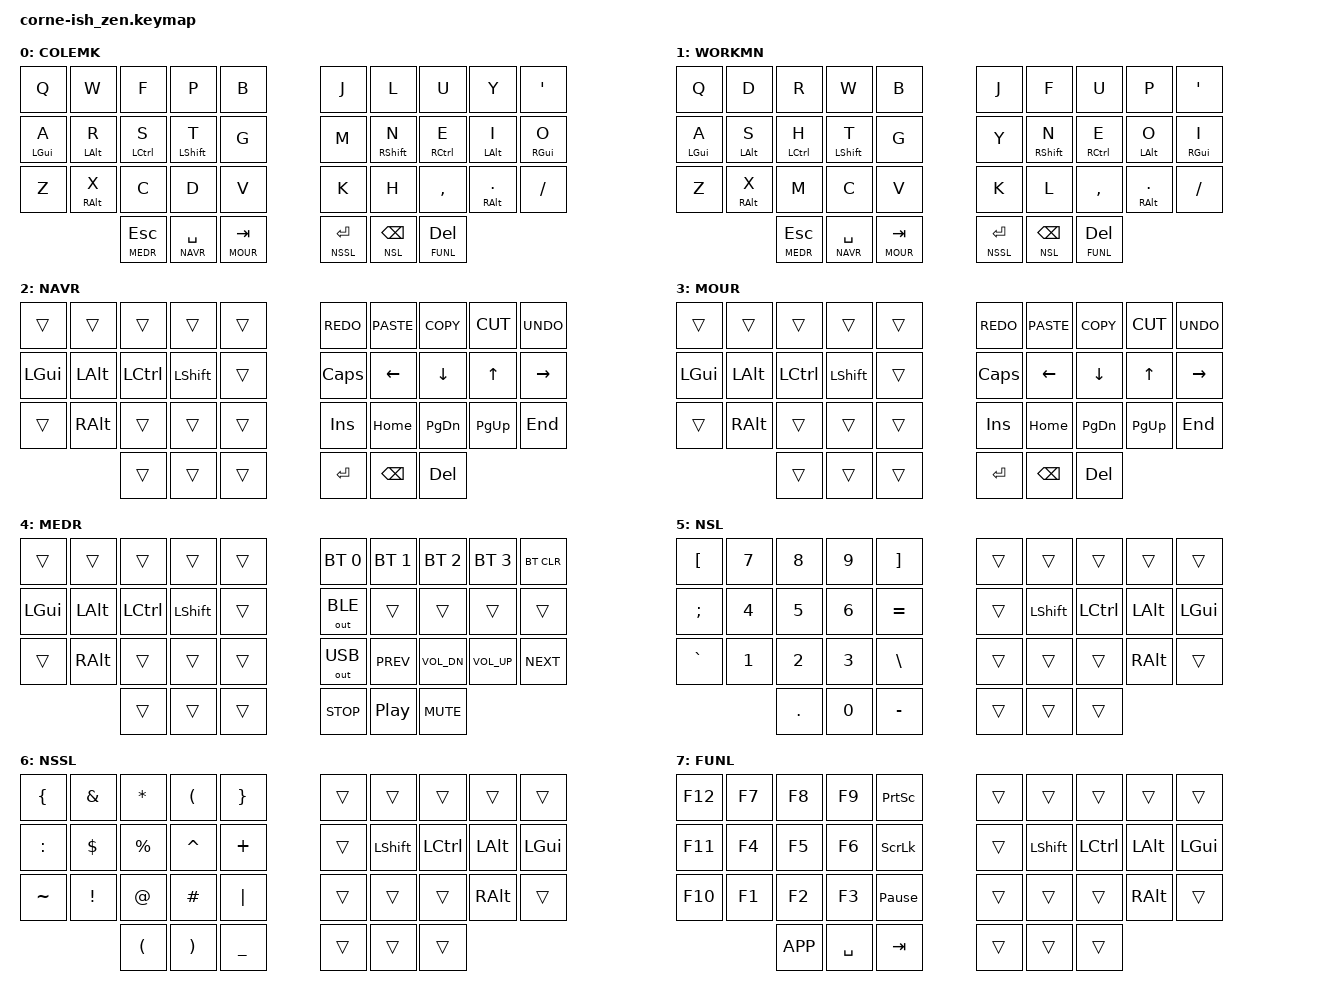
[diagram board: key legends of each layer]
#include <behaviors.dtsi>
#include <dt-bindings/zmk/keys.h>
#include <dt-bindings/zmk/bt.h>
#include <dt-bindings/zmk/outputs.h>

#define COLEMAK 0
#define WORKMAN 1
#define NAVR 2
#define MOUR 3
#define MEDR 4
#define NSL  5
#define NSSL 6
#define FUNL 7

/ {

    behaviors {
        hm: homerow_mods {
            compatible = "zmk,behavior-hold-tap";
            label = "HOMEROW_MODS";
            #binding-cells = <2>;
            tapping_term_ms = <300>;
            quick-tap-ms = <200>;
            flavor = "tap-preferred";
            bindings = <&kp>, <&kp>;
        };
        hs: homerow_shift {
            compatible = "zmk,behavior-hold-tap";
            label = "HOMEROW_SHIFT";
            #binding-cells = <2>;
            tapping_term_ms = <175>;
            quick-tap-ms = <0>;
            flavor = "balanced";
            bindings = <&kp>, <&kp>;
        };
        tm: thumbs_mods {
            compatible = "zmk,behavior-hold-tap";
            label = "THUMBS_MODS";
            #binding-cells = <2>;
            tapping-term-ms = <200>;
            quick-tap-ms = <200>;
            flavor = "tap-preferred";
            bindings = <&mo>, <&kp>;
        };

/*                KEY POSITIONS

  ╭────────────────────╮ ╭────────────────────╮
  │  0   1   2   3   4 │ │  5   6   7   8   9 │
  │ 10  11  12  13  14 │ │ 15  16  17  18  19 │
  │ 20  21  22  23  24 │ │ 25  26  27  28  29 │
  ╰───────╮ 30  31  32 │ │ 33  34  35 ╭───────╯
          ╰────────────╯ ╰────────────╯

* see https://github.com/caksoylar/zmk-config/blob/zen/config/combos.dtsi
* for some awsesome examples
*/
        combos {
            compatible = "zmk,combos";
            combo_del {
                timeout-ms = <50>;
                key-positions = <18 19>;
                bindings = <&kp DEL>;
                layers = <1>;
            };
            combo_bspc {
                timeout-ms = <50>;
                key-positions = <8 9>;
                bindings = <&kp BKSP>;
                layers = <0 1>;
            };
            combo_tab {
                timeout-ms = <50>;
                key-positions = <0 1>;
                bindings = <&kp TAB>;
                layers = <0>;

            };
            combo_esc {
                timeout-ms = <50>;
                key-positions = <1 2>;
                bindings = <&kp ESC>;
                layers = <0>;
            };

            combo_to_workman {
                timeout-ms = <40>;
                key-positions = <30 31 32>;
                bindings = <&to WORKMAN>;
                layers = <COLEMAK>;
            };

            combo_to_colemak {
                timeout-ms = <40>;
                key-positions = <33 34 35>;
                bindings = <&to COLEMAK>;
                layers = <WORKMAN>;
            };
        };

    };

    chosen {
        zmk,matrix_transform = &five_column_transform;
    };

    keymap {
        compatible = "zmk,keymap";

        colemak_layer {
           label = "COLEMK";
           bindings = <
&kp Q      &kp W      &kp F       &kp P       &kp B    &kp J     &kp L        &kp U       &kp Y        &kp SQT
&hm LGUI A &hm LALT R &hm LCTRL S &hs LSHFT T &kp G    &kp M     &hs RSHFT N  &hm RCTRL E &hm LALT I   &hm RGUI O
&kp Z      &mt RALT X &kp C       &kp D       &kp V    &kp K     &kp H        &kp COMMA   &mt RALT DOT &kp FSLH
           &tm MEDR ESC &tm NAVR SPACE &tm MOUR TAB    &tm NSSL RET &tm NSL BSPC &tm FUNL DEL
           >;
        };

        workman_layer {
            label = "WORKMN";
            bindings = <
&kp Q      &kp D      &kp R       &kp W       &kp B    &kp J     &kp F        &kp U       &kp P        &kp SQT
&hm LGUI A &hm LALT S &hm LCTRL H &hs LSHFT T &kp G    &kp Y     &hs RSHFT N  &hm RCTRL E &hm LALT O   &hm RGUI I
&kp Z      &mt RALT X &kp M       &kp C       &kp V    &kp K     &kp L        &kp COMMA   &mt RALT DOT &kp FSLH
           &tm MEDR ESC &tm NAVR SPACE &tm MOUR TAB    &tm NSSL RET &tm NSL BSPC &tm FUNL DEL
            >;
        };

        navr_layer {
            label    = "NAVR";
            bindings = <
&trans   &trans   &trans    &trans    &trans          &kp K_REDO  &kp K_PASTE  &kp K_COPY  &kp K_CUT  &kp K_UNDO
&kp LGUI &kp LALT &kp LCTRL &kp LSHFT &trans          &kp CAPS    &kp LEFT     &kp DOWN    &kp UP     &kp RIGHT
&trans   &kp RALT &trans    &trans    &trans          &kp INS     &kp HOME     &kp PG_DN   &kp PG_UP  &kp END
                  &trans    &trans    &trans          &kp RET     &kp BSPC     &kp DEL
            >;
        };
        mour_layer {
            label    = "MOUR"; // apparently mouse is not supported... yet? for now this is a copy of NAVR
            bindings = <
&trans   &trans   &trans    &trans    &trans          &kp K_REDO  &kp K_PASTE  &kp K_COPY  &kp K_CUT  &kp K_UNDO
&kp LGUI &kp LALT &kp LCTRL &kp LSHFT &trans          &kp CAPS    &kp LEFT     &kp DOWN    &kp UP     &kp RIGHT
&trans   &kp RALT &trans    &trans    &trans          &kp INS     &kp HOME     &kp PG_DN   &kp PG_UP  &kp END
                  &trans    &trans    &trans          &kp RET     &kp BSPC     &kp DEL
            >;
        };
        medr_layer {
            label    = "MEDR";
            bindings = <
&trans   &trans   &trans    &trans    &trans          &bt BT_SEL 0  &bt BT_SEL 1     &bt BT_SEL 2  &bt BT_SEL 3  &bt BT_CLR
&kp LGUI &kp LALT &kp LCTRL &kp LSHFT &trans          &out OUT_BLE  &trans           &trans        &trans        &trans
&trans   &kp RALT &trans    &trans    &trans          &out OUT_USB  &kp C_PREV       &kp C_VOL_DN  &kp C_VOL_UP  &kp C_NEXT
                  &trans    &trans    &trans          &kp C_STOP    &kp C_PLAY_PAUSE &kp C_MUTE
            >;
        };

       nsl_layer {
            label    = "NSL";
            bindings = <
&kp LBKT  &kp N7 &kp N8 &kp N9 &kp RBKT               &trans  &trans    &trans    &trans   &trans
&kp SEMI  &kp N4 &kp N5 &kp N6 &kp EQUAL              &trans  &kp LSHFT &kp LCTRL &kp LALT &kp LGUI
&kp GRAVE &kp N1 &kp N2 &kp N3 &kp BSLH               &trans  &trans    &trans    &kp RALT &trans
                 &kp DOT &kp N0 &kp MINUS             &trans  &trans    &trans
            >;
        };

        nssl_layer {
            label    = "NSSL";
            bindings = <
&kp LBRC  &kp AMPS &kp STAR  &kp LPAR  &kp RBRC       &trans  &trans    &trans    &trans   &trans
&kp COLON &kp DLLR &kp PRCNT &kp CARET &kp PLUS       &trans  &kp LSHFT &kp LCTRL &kp LALT &kp LGUI
&kp TILDE &kp EXCL &kp AT    &kp HASH  &kp PIPE       &trans  &trans    &trans    &kp RALT &trans
                   &kp LPAR  &kp RPAR  &kp UNDER      &trans  &trans    &trans
            >;
        };

        funl_layer {
            label    = "FUNL";
            bindings = <
&kp F12 &kp F7 &kp F8  &kp F9 &kp PSCRN               &trans  &trans    &trans    &trans   &trans
&kp F11 &kp F4 &kp F5  &kp F6 &kp SLCK                &trans  &kp LSHFT &kp LCTRL &kp LALT &kp LGUI
&kp F10 &kp F1 &kp F2  &kp F3 &kp PAUSE_BREAK         &trans  &trans    &trans    &kp RALT &trans
               &kp K_APP  &kp SPACE  &kp TAB          &trans  &trans    &trans
            >;
        };

    };
};
